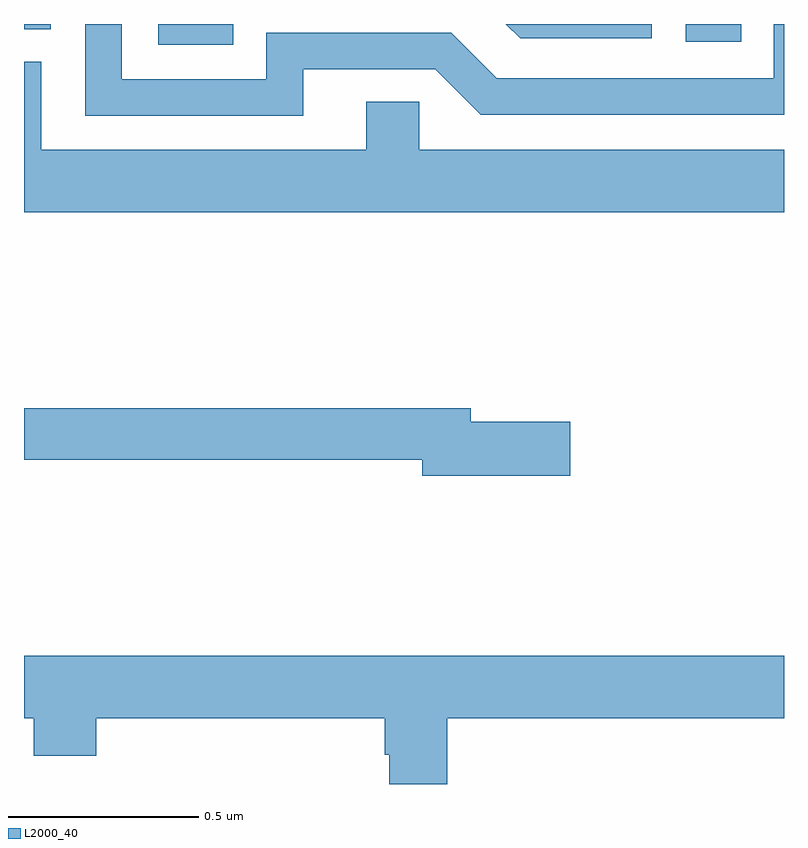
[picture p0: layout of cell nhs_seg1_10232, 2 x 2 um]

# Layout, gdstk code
import gdstk
lib = gdstk.Library(unit=1e-6, precision=1e-09)
def R(c, l, rs):  # rectangles x0, y0, x1, y1
    for r in rs: c.add(gdstk.rectangle(r[:2], r[2:], *l))
def P(c, l, *ps):  # polygons
    for p in ps: c.add(gdstk.Polygon(p, *l))
L2000_40 = (2000, 40)

nhs_seg1_10232 = lib.new_cell('nhs_seg1_10232')
R(nhs_seg1_10232, L2000_40, [(238.353,580.145,238.551,580.199), (239.742,580.152,239.888,580.199), (238,580.185,238.071,580.199)])
P(nhs_seg1_10232, L2000_40, [(239.652,580.199),(239.268,580.199),(239.306,580.161),(239.652,580.161)],
  [(238.735,580.08),(239.082,580.08),(239.202,579.96),(240,579.96),(240,580.199),(239.973,580.199),(239.973,580.056),(239.244,580.056),(239.124,580.176),(238.638,580.176),(238.638,580.053),(238.257,580.053),(238.257,580.199),(238.161,580.199),(238.161,579.957),(238.735,579.957)],
  [(240,579.868),(239.04,579.868),(239.04,579.995),(238.901,579.995),(238.901,579.868),(238.045,579.868),(238.045,580.1),(238,580.1),(238,579.704),(240,579.704)],
  [(239.437,579.152),(239.176,579.152),(239.176,579.188),(238,579.188),(238,579.052),(239.048,579.052),(239.048,579.01),(239.437,579.01)],
  [(238,578.372),(238.025,578.372),(238.025,578.273),(238.19,578.273),(238.19,578.372),(238.949,578.372),(238.949,578.276),(238.961,578.276),(238.961,578.199),(239.114,578.199),(239.114,578.372),(240,578.372),(240,578.536),(238,578.536)])

lib.write_gds('nhs_seg1_10232.gds')
